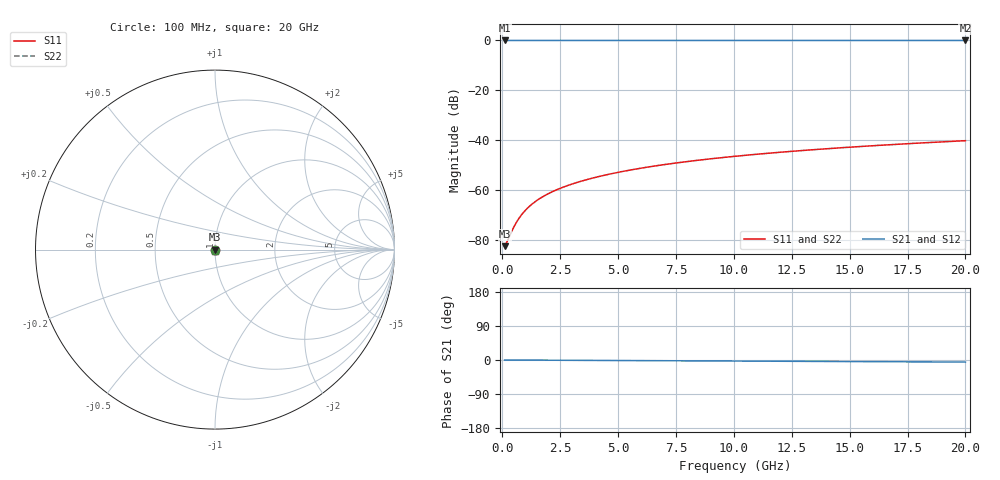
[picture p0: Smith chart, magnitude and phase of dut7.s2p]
! Touchstone file exported from HFSS 2026.1.0
!  File:  C:/ffzhzh/LocalFiles/Ansys_Project_Files/temp_val_TSV_7_1782974845_45308.aedt
!  Generated:  02:48:47 PM Jul  2, 2026
!  Design:  TSV
!  Project:  temp_val_TSV_7_1782974845_45308
! Variables:
!  h_bsmrdl = 2um
!  h_ox = 20um
!  h_rdl = 5um
!  h_sub = 51.49um
!  h_tmrdl = 5um
!  h_tsv = 51.49um
!  h_via = 3um
!  l_bsmrdl = 300um
!  l_sub = 424.56um
!  l_tmrdl = 200um
!  m_sub = 200um
!  pitch = 44.12um
!  r_tsv = 12.28um
!  s_tmrdl = 10um
!  w_bsmrdl = 18um
!  w_sub = 500um
!  w_tmrdl = 12um
!  x_tsv_center1 = 206um
!  x_tsv_center2 = 524um
!  x_tsv_center3 = 736um
!  x_tsv_center4 = 1054um
!  x_tsv_center5 = 1266um
!  x_tsv_center6 = 1584um
# GHz S MA R 50.000000
! Terminal data exported
! Port[1] = TSV1_1_T1
! Port[2] = TSV1_1_T2
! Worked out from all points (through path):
!   200 points, 100 MHz to 20 GHz, reference 50 ohm
!   highest |S21| = 0.00 dB at 100 MHz (marker M1); lowest = 0.0 dB at 20 GHz (marker M2)
!   lowest |S11| = -82.7 dB at 100 MHz (marker M3), VSWR 1.00, Z = 50 - j0.00188 ohm
!   |S11| at or under -10 dB: start of sweep to end of sweep
!   |S22| runs from -82.7 to -40.3 dB; largest |S21 - S12| = 1e-15
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0.1  7.351e-05 -14.9  0.9999 -0.0  0.9999 -0.0  7.351e-05 -14.9
! Gamma 0 0 0 0
! Port Impedance 50 0 50 0
0.2  8.933e-05 -26.5  0.9999 -0.1  0.9999 -0.1  8.933e-05 -26.5
0.3  0.0001134 -34.9  0.9999 -0.1  0.9999 -0.1  0.0001134 -34.9
0.5  0.0001788 -45.7  0.9999 -0.1  0.9999 -0.1  0.0001788 -45.7
0.6  0.0002172 -49.6  0.9999 -0.2  0.9999 -0.2  0.0002172 -49.6
0.7  0.000258 -52.9  0.9998 -0.2  0.9998 -0.2  0.000258 -52.9
0.9  0.0003438 -58.2  0.9998 -0.3  0.9998 -0.3  0.0003438 -58.2
1.1  0.0004326 -62.2  0.9998 -0.3  0.9998 -0.3  0.0004326 -62.2
1.4  0.0005677 -66.7  0.9998 -0.4  0.9998 -0.4  0.0005677 -66.7
1.8  0.000749 -70.8  0.9997 -0.5  0.9997 -0.5  0.000749 -70.8
2.3  0.0009766 -74.1  0.9997 -0.6  0.9997 -0.6  0.0009766 -74.1
2.9  0.001252 -76.6  0.9997 -0.8  0.9997 -0.8  0.001252 -76.6
3.5  0.00153 -78.4  0.9997 -1.0  0.9997 -1.0  0.00153 -78.4
4.2  0.001858 -79.8  0.9996 -1.2  0.9996 -1.2  0.001858 -79.8
5  0.002238 -81.1  0.9996 -1.4  0.9996 -1.4  0.002238 -81.1
5.9  0.002671 -82.2  0.9996 -1.6  0.9996 -1.6  0.002671 -82.2
6.8  0.003108 -83.2  0.9995 -1.9  0.9995 -1.9  0.003108 -83.2
8.3  0.003842 -84.5  0.9995 -2.3  0.9995 -2.3  0.003842 -84.5
10.1  0.00473 -85.8  0.9994 -2.8  0.9994 -2.8  0.00473 -85.8
13.4  0.006368 -87.8  0.9993 -3.7  0.9993 -3.7  0.006368 -87.8
16.7  0.008017 -89.3  0.9992 -4.6  0.9992 -4.6  0.008017 -89.3
20  0.009682 -90.7  0.9991 -5.5  0.9991 -5.5  0.009682 -90.7
